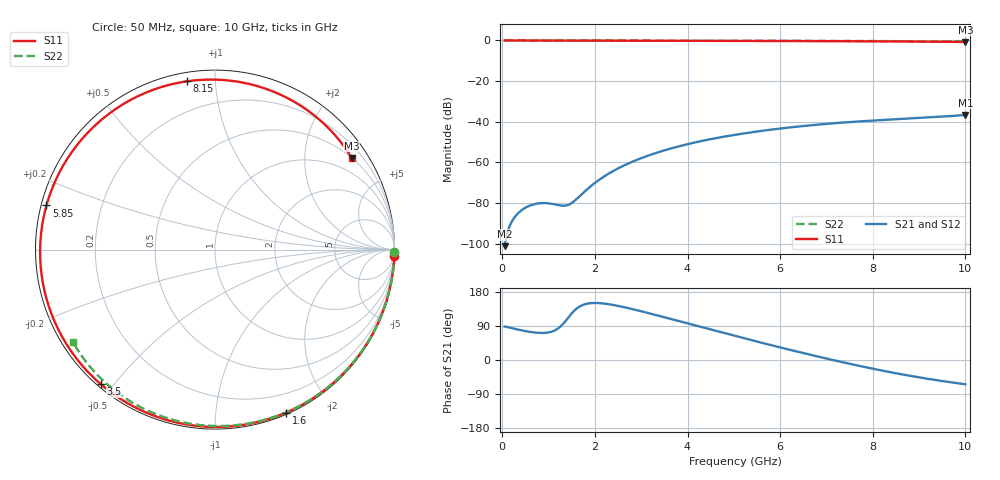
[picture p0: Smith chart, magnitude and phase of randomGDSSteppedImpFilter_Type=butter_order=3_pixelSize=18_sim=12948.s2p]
! freq	dB(S11)	phase(S11)	dB(S12)	phase(S12)
!  dB(S21)	phase(S21)	dB(S22)	phase(S22)
!S-par simulation data
#  GHz  S  DB  R 50
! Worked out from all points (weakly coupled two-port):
!   200 points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, 50 MHz to 10 GHz, reference 50 ohm
!   highest |S21| = -36.69 dB at 10 GHz (marker M1); lowest = -101.3 dB at 50 MHz (marker M2)
!   lowest |S11| = -0.8 dB at 10 GHz (marker M3), VSWR 23.09, Z = 25.1 + j161 ohm
!   |S11| at or under -10 dB: nowhere
!   |S22| runs from -0.5 to 0.0 dB; largest |S21 - S12| = 0
!   S11 on the Smith chart (normalised r, x): 50 MHz: 0, -52; 1.6 GHz: 0.02, -1.53; 3.5 GHz: 0.01, -0.46; 5.85 GHz: 0.02, +0.13; 8.15 GHz: 0.04, +0.85; 10 GHz: 0.50, +3.22
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0.05  -0.00 -2.2  -101.27 88.5  -101.27 88.5  -0.00 -0.9
0.4  -0.03 -17.4  -83.88 78.7  -83.88 78.7  -0.01 -6.8
0.75  -0.04 -32.3  -80.32 71.9  -80.32 71.9  -0.02 -12.7
1.15  -0.06 -48.8  -80.77 79.1  -80.77 79.1  -0.02 -19.5
1.5  -0.08 -62.7  -80.01 123.0  -80.01 123.0  -0.03 -25.3
1.6  -0.08 -66.5  -78.18 135.1  -78.18 135.1  -0.03 -27.0
1.75  -0.09 -72.2  -74.99 145.8  -74.99 145.8  -0.04 -29.4
2.1  -0.10 -85.0  -68.47 150.1  -68.47 150.1  -0.04 -35.2
2.45  -0.11 -97.1  -63.59 144.0  -63.59 144.0  -0.05 -40.9
2.9  -0.12 -111.9  -58.84 131.6  -58.84 131.6  -0.06 -48.0
3.4  -0.14 -127.3  -54.80 116.0  -54.80 116.0  -0.07 -55.9
3.5  -0.14 -130.3  -54.10 112.8  -54.10 112.8  -0.08 -57.4
4.25  -0.17 -151.7  -49.76 88.4  -49.76 88.4  -0.10 -68.9
5.05  -0.21 -173.4  -46.37 62.8  -46.37 62.8  -0.12 -80.7
5.85  -0.26 165.3  -43.77 37.8  -43.77 37.8  -0.16 -92.1
6.7  -0.32 142.3  -41.67 12.5  -41.67 12.5  -0.20 -103.8
7.5  -0.38 119.4  -40.18 -10.0  -40.18 -10.0  -0.25 -114.5
8.15  -0.44 99.5  -39.24 -26.7  -39.24 -26.7  -0.30 -123.0
8.35  -0.46 93.1  -38.98 -31.5  -38.98 -31.5  -0.32 -125.6
9.15  -0.57 65.7  -37.97 -48.9  -37.97 -48.9  -0.40 -136.1
9.55  -0.64 51.1  -37.41 -56.4  -37.41 -56.4  -0.44 -141.3
10  -0.75 33.8  -36.69 -64.0  -36.69 -64.0  -0.50 -147.2
